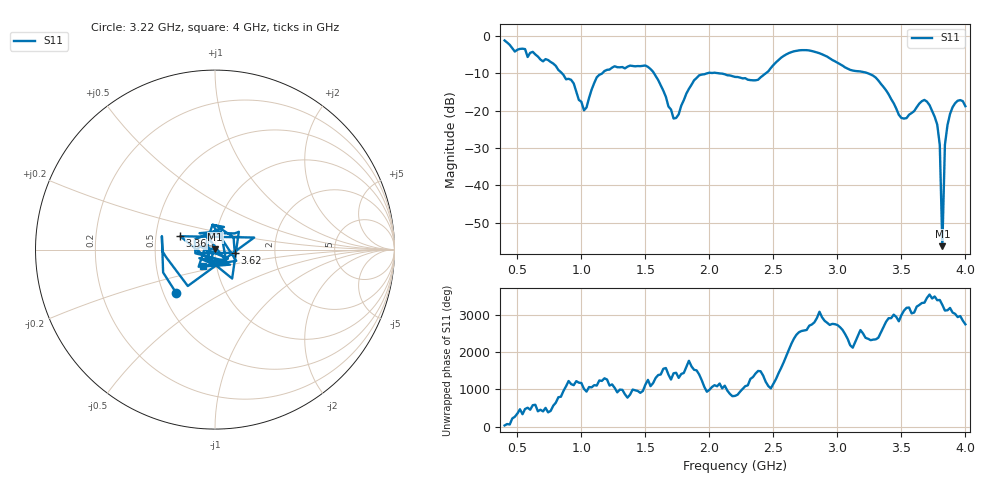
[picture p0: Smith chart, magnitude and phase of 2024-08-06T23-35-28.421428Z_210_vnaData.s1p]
!Created with skrf (http://scikit-rf.org).
# Hz S RI R 50.0
!freq ReS11 ImS11
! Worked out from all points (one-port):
!   181 points, 400 MHz to 4 GHz, reference 50 ohm
!   lowest |S11| = -56.3 dB at 3.82 GHz (marker M1), VSWR 1.00, Z = 50.1 + j0.0904 ohm
!   |S11| at or under -10 dB: 1.568 GHz to 1.982 GHz (414.7 MHz wide, 23.4 % of centre); 2.075 GHz to 2.439 GHz (364.2 MHz wide, 16.1 % of centre); 3.239 GHz to end of sweep (the widest 3 of 4)
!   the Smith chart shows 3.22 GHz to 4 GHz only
!   S11 on the Smith chart (normalised r, x): 3.22 GHz: 0.58, -0.32; 3.36 GHz: 0.67, +0.10; 3.62 GHz: 1.25, -0.05; 4 GHz: 0.86, -0.16
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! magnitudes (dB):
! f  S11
! 400 MHz  -1.2
! 860 MHz  -10.4
! 940 MHz  -12.7
! 1.02 GHz  -19.9
! 1.12 GHz  -11.1
! 1.3 GHz  -8.4
! 1.52 GHz  -8.3
! 1.6 GHz  -11.8
! 1.72 GHz  -22.1
! 1.76 GHz  -21.0
! 1.92 GHz  -10.5
! 2.2 GHz  -11.0
! 2.38 GHz  -11.7
! 2.66 GHz  -4.1
! 3.1 GHz  -9.1
! 3.22 GHz  -9.8
! 3.36 GHz  -13.6
! 3.5 GHz  -22.0
! 3.56 GHz  -21.1
! 3.62 GHz  -19.1
! 3.7 GHz  -17.6
! 3.78 GHz  -23.7
! 3.8 GHz  -29.2
! 3.82 GHz  -56.3
! 3.84 GHz  -29.2
! 3.86 GHz  -23.9
! 3.92 GHz  -18.0
! 4 GHz  -18.8
